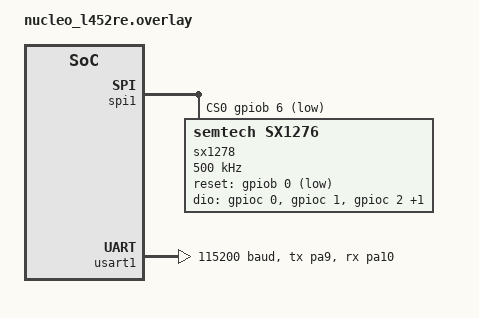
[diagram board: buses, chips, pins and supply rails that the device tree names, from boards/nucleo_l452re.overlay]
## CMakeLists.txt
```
cmake_minimum_required(VERSION 3.20)

if(NOT DEFINED BOARD)
    set(BOARD rs_0015_100)
endif()

include(${CMAKE_CURRENT_SOURCE_DIR}/../modules/rts-zephyr/clion-zephyr.cmake)

project(service_device VERSION 0.0.0)
FILE(GLOB_RECURSE SOURCES src/*.c)
target_sources(app PRIVATE ${SOURCES})
target_include_directories(app PRIVATE ${CMAKE_CURRENT_SOURCE_DIR}/src/libs)
```

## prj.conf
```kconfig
# Common CONFIG begin
CONFIG_CPLUSPLUS=y
CONFIG_LIB_CPLUSPLUS=y
CONFIG_STD_CPP17=y
CONFIG_SYSTEM_WORKQUEUE_PRIORITY=0
CONFIG_PINCTRL=y
# Common CONFIG end

# LoRa CONFIG begin
CONFIG_LORA=y
CONFIG_LORA_SX12XX=y
CONFIG_LORA_SX127X=y
CONFIG_HAS_SEMTECH_RADIO_DRIVERS=y
# LoRa CONFIG end

# RNG GONFIG begin
CONFIG_ENTROPY_GENERATOR=y
CONFIG_ENTROPY_DEVICE_RANDOM_GENERATOR=y
CONFIG_ENTROPY_STM32_RNG=y
# RNG GONFIG end

# Peripherals CONFIG begin
CONFIG_GPIO=y
CONFIG_SPI=y
CONFIG_SPI_STM32=y
CONFIG_SPI_STM32_DMA=y
CONFIG_SERIAL=y
CONFIG_DMA=y
# Peripherals CONFIG end

# UART mode CONFIG begin
CONFIG_UART_ASYNC_API=y
# UART mode CONFIG end

# Print CONFIG begin
CONFIG_NEWLIB_LIBC=n
CONFIG_NEWLIB_LIBC_FLOAT_PRINTF=n
# Print CONFIG end

# Stack CONFIG begin
CONFIG_MAIN_STACK_SIZE=4096
# CONFIG_IDLE_STACK_SIZE=4096
# CONFIG_LOG_PROCESS_THREAD_STACK_SIZE=4096
# CONFIG_SYSTEM_WORKQUEUE_STACK_SIZE=4096
# Stack CONFIG end
```

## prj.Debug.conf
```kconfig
# Optimize for debug
CONFIG_DEBUG_OPTIMIZATIONS=y
CONFIG_CONSOLE=n

# CONFIG_PRINTK=y
# CONFIG_LOG=y
# CONFIG_LOG_BACKEND_UART=y
# CONFIG_LORA_LOG_LEVEL_DBG=y
# CONFIG_LED_STRIP_LOG_LEVEL_DBG=y
# CONFIG_DMA_LOG_LEVEL_DBG=y
# CONFIG_LOG_DEFAULT_LEVEL=4
```

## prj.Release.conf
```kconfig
# Optimize for speed.
CONFIG_SPEED_OPTIMIZATIONS=y
CONFIG_CONSOLE=n
# Disable assertions in the Zephyr Kernel.
# This improves the execution speed and prevents a CMake configure warning.
CONFIG_ASSERT=n
```

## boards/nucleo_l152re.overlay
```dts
/* SPDX-License-Identifier: Apache-2.0 */

&usart1 {
    pinctrl-0 = <&usart1_tx_pa9 &usart1_rx_pa10>;
    pinctrl-names = "default";
    current-speed = <115200>;
    parity = "none";
    dmas =  <&dma1 4 0x20440>,
            <&dma1 5 0x20480>;
    dma-names = "tx", "rx";
    status = "okay";
};

&dma1 {
    status = "okay";
};
```

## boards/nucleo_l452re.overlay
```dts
/*
 * SPDX-License-Identifier: Apache-2.0
 *
 * Copyright (c) 2021 Planet Innovation
 */
&spi1 {
    status = "okay";
    cs-gpios = <&gpiob 6 (GPIO_ACTIVE_LOW)>;
    lora0: sx1278@0 {
        compatible = "semtech,sx1276";
        reg = <0>;
        label = "sx1278";
        reset-gpios = <&gpiob 0 (GPIO_ACTIVE_LOW | GPIO_OPEN_DRAIN)>; // GPIO_ACTIVE_LOW
        dio-gpios = <&gpioc 0 (GPIO_ACTIVE_HIGH | GPIO_PULL_DOWN)>,
                    <&gpioc 1 (GPIO_ACTIVE_HIGH | GPIO_PULL_DOWN)>,
                    <&gpioc 2 (GPIO_ACTIVE_HIGH | GPIO_PULL_DOWN)>,
                    <&gpioc 3 (GPIO_ACTIVE_HIGH | GPIO_PULL_DOWN)>;
        power-amplifier-output = "pa-boost";
        spi-max-frequency = <500000>;
    };
};


&usart1 {
    pinctrl-0 = <&usart1_tx_pa9 &usart1_rx_pa10>;
    pinctrl-names = "default";
    current-speed = <115200>;
    parity = "none";
    dmas = <&dma1 4 2 0x20440>,
           <&dma1 5 2 0x20480>;
    dma-names = "tx","rx";
    status = "okay";
};


&dma1 {
    status = "okay";
};


&clk_hsi {
    status = "okay";
};


&pll {
    status = "okay";
    div-m = <1>;            /*  16 / 1  = 16MHz  */
    mul-n = <20>;           /*  16 * 20 = 320MHz */
    div-r = <4>;            /* 128 / 2  = 80MHz  */
    clocks = <&clk_hsi>;
};


&rcc {
	status = "okay";
	clocks = <&pll>;
	clock-frequency = <DT_FREQ_M(80)>;
	ahb-prescaler = <1>;
	apb1-prescaler = <1>;
	apb2-prescaler = <1>;
};
```

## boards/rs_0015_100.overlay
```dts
/*
 * SPDX-License-Identifier: Apache-2.0
 *
 * Copyright (c) 2021 Planet Innovation
 */

&spi2 {
    status = "disabled";
};

&spi1 {
    pinctrl-0 = <&spi1_sck_pb3 &spi1_miso_pb4 &spi1_mosi_pb5>;
    pinctrl-names = "default";
    status = "okay";
    cs-gpios = <&gpioa 12 (GPIO_ACTIVE_LOW)>;
    dmas = <&dma1 3 1 0x20440>, <&dma1 2 1 0x20480>;
    dma-names = "tx", "rx";
    lora0: sx1278@0 {
        compatible = "semtech,sx1276";
        reg = <0>;
        label = "sx1278";
        reset-gpios = <&gpiob 8 (GPIO_ACTIVE_LOW | GPIO_OPEN_DRAIN)>; // GPIO_ACTIVE_LOW
        dio-gpios = <&gpiob 6 (GPIO_ACTIVE_HIGH | GPIO_PULL_DOWN)>,
                    <&gpioa 10 (GPIO_ACTIVE_HIGH | GPIO_PULL_DOWN)>,
                    <&gpioa 11 (GPIO_ACTIVE_HIGH | GPIO_PULL_DOWN)>,
                    <&gpioc 14 (GPIO_ACTIVE_HIGH | GPIO_PULL_DOWN)>;
        power-amplifier-output = "pa-boost";
        spi-max-frequency = <500000>;
    };
};


&usart2 {
    pinctrl-0 = <&usart2_tx_pa2 &usart2_rx_pa3>;
    pinctrl-names = "default";
    current-speed = <115200>;
    parity = "none";
    dmas = <&dma1 7 2 0x20440>,
           <&dma1 6 2 0x20480>;
    dma-names = "tx","rx";
    status = "okay";
};


&dma1 {
    status = "okay";
};


&clk_hsi {
    status = "okay";
};


&pll {
    status = "okay";
    div-m = <1>;            /*  16 / 1  = 16MHz  */
    mul-n = <20>;           /*  16 * 20 = 320MHz */
    div-r = <4>;            /* 128 / 2  = 80MHz  */
    clocks = <&clk_hsi>;
};


&rcc {
	status = "okay";
	clocks = <&pll>;
	clock-frequency = <DT_FREQ_M(80)>;
	ahb-prescaler = <1>;
	apb1-prescaler = <1>;
	apb2-prescaler = <1>;
};
```

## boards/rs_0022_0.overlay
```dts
/*
 * SPDX-License-Identifier: Apache-2.0
 *
 * Copyright (c) 2021 Planet Innovation
 */
/*
&spi2{
    status = "okay";
	cs-gpios = <&gpiob 12 (GPIO_ACTIVE_LOW | GPIO_PULL_UP)>;
    lora0: sx1276@0 {
        status = "okay";
        compatible = "semtech,sx1276";
        reg = <0>;
        label = "SX1276";
        spi-max-frequency = <500000>;
        reset-gpios = <&gpiob 9 (GPIO_ACTIVE_LOW | GPIO_OPEN_DRAIN)>;
        dio-gpios = <&gpiob 3 (GPIO_ACTIVE_HIGH | GPIO_PULL_DOWN)>,
                    <&gpiob 4 (GPIO_ACTIVE_HIGH | GPIO_PULL_DOWN)>,
                    <&gpiob 5 (GPIO_ACTIVE_HIGH | GPIO_PULL_DOWN)>,
                    <&gpiob 7 (GPIO_ACTIVE_HIGH | GPIO_PULL_DOWN)>,
                    <&gpiob 6 (GPIO_ACTIVE_HIGH | GPIO_PULL_DOWN)>,
                    <&gpiob 8 (GPIO_ACTIVE_HIGH | GPIO_PULL_DOWN)>;
        power-amplifier-output = "rfo";
    };
};

&spi1{
    status = "okay";
    cs-gpios = <&gpiob 2 (GPIO_ACTIVE_LOW | GPIO_PULL_UP)>;
    uwb: dw1000@0 {
        compatible = "decawave,dw1000";
        reg = <0>;
        label = "DW1000";
        spi-max-frequency = <8000000>;
        reset-gpios = <&gpioa 8 (GPIO_ACTIVE_LOW)>;
        int-gpios = <&gpiob 10 (GPIO_ACTIVE_HIGH | GPIO_PULL_DOWN)>;
        tx-ant-delay=<0x4042>;
        rx-ant-delay=<0x4042>;
    };
};
*/
```

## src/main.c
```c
#include "service_device_common.h"


#include <logging/log.h>
LOG_MODULE_REGISTER(service_device, LOG_LEVEL_DBG);

uint8_t uart_buf_rx[UART_RX_BUF_LEN] = {0};

/**
 * Structs, typedefs and enums area begin
 * */

atomic_t atomic_freq = ATOMIC_INIT(433000000);
atomic_t atomic_sf = ATOMIC_INIT(SF_12);

struct k_work work_uart_data_proc = {0};

/**
 * Structs and enums area end
 * */

void event_cb(const struct device* dev, struct uart_event* evt, void* user_data) {
    switch (evt->type) {
        case UART_TX_ABORTED:
            break;
        case UART_TX_DONE:
            atomic_set(&atomic_uart_tx_done, true);
            break;
        case UART_RX_BUF_RELEASED:
        case UART_RX_BUF_REQUEST:
            break;
        case UART_RX_DISABLED:
            k_work_submit(&work_uart_data_proc);
            break;
        case UART_RX_RDY:
            uart_rx_disable(dev);
            break;
        case UART_RX_STOPPED:
            break;
    }
}


void work_uart_data_proc_handler(struct k_work *item)
{
    const struct device* uart_dev = device_get_binding(CURRENT_UART_DEVICE);
    struct parsed_frame_s parsed_frame = {0};
    /* Select current command */
    parsed_frame.cmd_ptr = strtok((char*)(&uart_buf_rx), "=");
    /* Select command argument */
    parsed_frame.arg = atoi(strtok((char*)(&uart_buf_rx[strlen(parsed_frame.cmd_ptr) + 1]), "\n"));

    if (!strcmp(parsed_frame.cmd_ptr, COMMAND_TYPE_PER)) { /* Set PER measurement */

        atomic_set(&atomic_cur_state, STATE_PER_MEAS);
        atomic_set(&atomic_per_num, (atomic_val_t)parsed_frame.arg); /* Set packet num */

    } else if (!strcmp(parsed_frame.cmd_ptr, COMMAND_TYPE_STOP_RECEIVE_SESSION)) { /* Stop receive */

        atomic_set(&atomic_cur_state, STATE_STOP);
        send_to_terminal(uart_dev, "Wait while started transaction will be ended\n");

    } else if (!strcmp(parsed_frame.cmd_ptr, COMMAND_TYPE_GET_CFG)) { /* Get lora modem configuration parameters */

        atomic_set(&atomic_cur_state, STATE_GET_CFG);

    } else if (!strcmp(parsed_frame.cmd_ptr, COMMAND_TYPE_INCR_FREQ)) { /* Increment current frequency on 100 kHz */

        atomic_set(&atomic_cur_state, STATE_INCR_FREQ);

    } else if (!strcmp(parsed_frame.cmd_ptr, COMMAND_TYPE_DECR_FREQ)) { /* Decrement current frequency on 100 kHz */

        atomic_set(&atomic_cur_state, STATE_DECR_FREQ);

    } else if (!strcmp(parsed_frame.cmd_ptr, COMMAND_TYPE_SET_FREQ)) { /* Change frequency value in lora configuration param */

        atomic_set(&atomic_freq, (long)parsed_frame.arg);
        atomic_set(&atomic_cur_state, STATE_SET_FREQ);

    } else if (!strcmp(parsed_frame.cmd_ptr, COMMAND_TYPE_SET_SF)) { /* Change SF value in lora configuration param */

        switch (parsed_frame.arg) {
            case DR_SF_12:
                atomic_set(&atomic_sf, SF_12);
                break;
            case DR_SF_11:
                atomic_set(&atomic_sf, SF_11);
                break;
            case DR_SF_10:
                atomic_set(&atomic_sf, SF_10);
                break;
            case DR_SF_9:
                atomic_set(&atomic_sf, SF_9);
                break;
            case DR_SF_8:
                atomic_set(&atomic_sf, SF_8);
                break;
            case DR_SF_7:
                atomic_set(&atomic_sf, SF_7);
                break;
            case DR_SF_6:
                atomic_set(&atomic_sf, SF_6);
                break;
        }
        atomic_set(&atomic_cur_state, STATE_SET_SF);

    } else {
        atomic_set(&atomic_cur_state, STATE_IDLE);
    }
    uart_rx_enable(uart_dev, uart_buf_rx, UART_RX_BUF_LEN, TIMEOUT);
}


_Noreturn void common_task(void)
{
    volatile int32_t ret = 0;
    struct lora_modem_config lora_cfg = {
      .tx = false,
      .frequency = atomic_get(&atomic_freq),
      .bandwidth = BW_125_KHZ,
      .datarate = atomic_get(&atomic_sf),
      .preamble_len = 12,
      .coding_rate = CR_4_5,
      .tx_power = 20,
      .fixed_len = true,
      .payload_len = RADIO_BUF_LEN,
    };
    const struct device *lora_dev;
    const struct device *uart_dev;

    /**
     * Radio initialization area begin
     * */
    /* Init radio */
    lora_dev = DEVICE_DT_GET(DEFAULT_RADIO_NODE);
    if (!device_is_ready(lora_dev)) {
        LOG_DBG("Device not ready: %s", lora_dev->name);
        k_sleep(K_FOREVER);
    }

    ret = lora_config(lora_dev, &lora_cfg);
    if (ret < 0) {
        LOG_DBG("Device not configure: %s", lora_dev->name);
        k_sleep(K_FOREVER);
    }
    /**
    * Radio initialization area end
    * */

    /**
     * UART initialization area begin
     * */
    k_work_init(&work_uart_data_proc, work_uart_data_proc_handler);

    /* Init UART*/
    uart_dev = device_get_binding(CURRENT_UART_DEVICE);
    if (!device_is_ready(uart_dev)) {
        LOG_DBG("Device not ready: %s", uart_dev->name);
        k_sleep(K_FOREVER);
    }
    uart_callback_set(uart_dev, event_cb, NULL);
    /**
    * UART initialization area end
    * */


    while(1) {
        switch (atomic_get(&atomic_cur_state)) {
            /* This is start state */
            case STATE_RECV:
                /* Start UART receive */
                lora_recv_async(lora_dev, lora_receive_cb, lora_rx_error_timeout_cb);
                atomic_cas(&atomic_cur_state, STATE_RECV, STATE_IDLE);
                break;

            case STATE_TRANSMIT:
                /* Receive was stopped into callback function */
                lora_cfg.tx = true;
                lora_config(lora_dev, &lora_cfg);
                k_sleep(K_MSEC(300));
                lora_send(lora_dev, radio_buf_tx, RADIO_BUF_LEN);
                lora_recv_async(lora_dev, lora_receive_cb, lora_rx_error_timeout_cb); /* Restart receive */
                atomic_cas(&atomic_cur_state, STATE_TRANSMIT, STATE_RECV);
                break;

            case STATE_PER_MEAS:
                /* Start UART receive */
                per_meas(lora_dev, &lora_cfg, uart_dev);
                /* Change currently state on STATE_RECV if it still equals STATE_PER_MEAS
                 * Else do nothing*/
                atomic_cas(&atomic_cur_state, STATE_PER_MEAS, STATE_RECV);
                break;

            /* Get modem configuration
             * After execution this case will be started receive */
            case STATE_GET_CFG:
                print_modem_cfg(uart_dev, &lora_cfg);
                atomic_cas(&atomic_cur_state, STATE_GET_CFG, STATE_RECV);
                break;

            /* Increment on 100 kHz modem frequency
             * After execution this case will be started receive */
            case STATE_INCR_FREQ:
                incr_decr_modem_frequency(lora_dev, &lora_cfg, true, uart_dev);
                atomic_cas(&atomic_cur_state, STATE_INCR_FREQ, STATE_RECV);
                break;

            /* Decrement on 100 kHz modem frequency
             * After execution this case will be started receive */
            case STATE_DECR_FREQ:
                incr_decr_modem_frequency(lora_dev, &lora_cfg, false, uart_dev);
                atomic_cas(&atomic_cur_state, STATE_DECR_FREQ, STATE_RECV);
                break;

            /* Set modem frequency
             * After execution this case will be started receive */
            case STATE_SET_FREQ:
                change_modem_frequency(lora_dev, &lora_cfg, atomic_get(&atomic_freq), uart_dev);
                atomic_cas(&atomic_cur_state, STATE_SET_FREQ, STATE_RECV);
                break;

            /* Set modem datarate value
             * After execution this case will be started receive */
            case STATE_SET_SF:
                change_modem_datarate(lora_dev, &lora_cfg, atomic_get(&atomic_sf), uart_dev);
                atomic_cas(&atomic_cur_state, STATE_SET_SF, STATE_RECV);
                break;

            /* For abort PER measurement
             * After execution this case will be started receive */
            case STATE_STOP:
                stop_session(lora_dev, uart_dev);
                atomic_cas(&atomic_cur_state, STATE_STOP, STATE_RECV);
                break;

            default:
                k_sleep(K_MSEC(10));
                break;
        }
    }
}

K_THREAD_DEFINE(common_task_id, STACK_SIZE, common_task, NULL, NULL, NULL,
                0, 0, 0);
```
